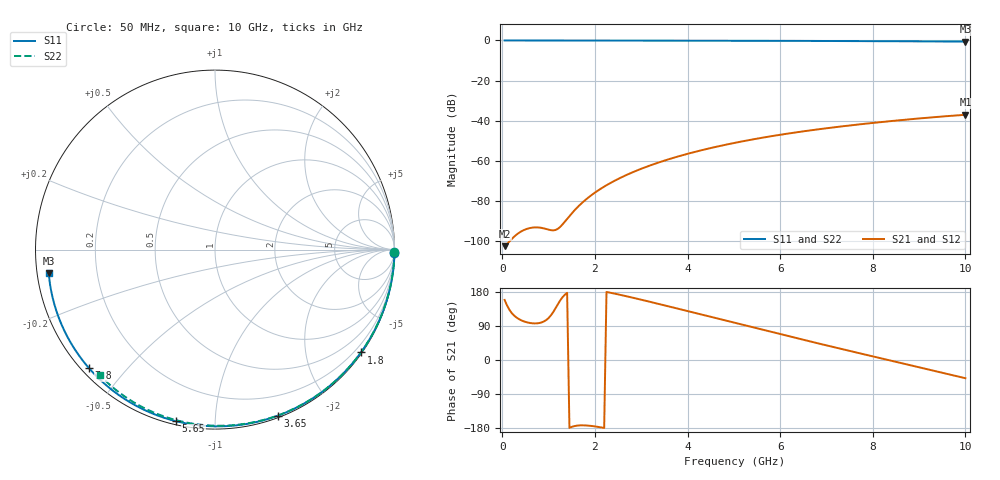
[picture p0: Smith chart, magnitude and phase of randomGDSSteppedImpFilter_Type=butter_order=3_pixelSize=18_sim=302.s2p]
! freq	dB(S11)	phase(S11)	dB(S12)	phase(S12)
!  dB(S21)	phase(S21)	dB(S22)	phase(S22)
!S-par simulation data
#  GHz  S  DB  R 50
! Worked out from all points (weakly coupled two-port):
!   200 points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, 50 MHz to 10 GHz, reference 50 ohm
!   highest |S21| = -37.06 dB at 10 GHz (marker M1); lowest = -102.6 dB at 50 MHz (marker M2)
!   lowest |S11| = -0.6 dB at 10 GHz (marker M3), VSWR 30.14, Z = 1.67 - j3.54 ohm
!   |S11| at or under -10 dB: nowhere
!   |S22| runs from -0.5 to 0.0 dB; largest |S21 - S12| = 0
!   S11 on the Smith chart (normalised r, x): 50 MHz: open; 1.8 GHz: 0.03, -3.16; 3.65 GHz: 0.02, -1.45; 5.65 GHz: 0.02, -0.80; 7.8 GHz: 0.02, -0.40; 10 GHz: 0.03, -0.07
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0.05  -0.00 -1.0  -102.61 158.5  -102.61 158.5  -0.00 -0.8
0.45  -0.01 -8.9  -94.75 102.6  -94.75 102.6  -0.01 -6.9
0.85  -0.02 -16.8  -93.49 99.2  -93.49 99.2  -0.02 -12.9
1.3  -0.03 -25.6  -91.76 165.6  -91.76 165.6  -0.02 -19.7
1.75  -0.04 -34.2  -80.43 -172.4  -80.43 -172.4  -0.03 -26.4
1.8  -0.04 -35.2  -79.44 -172.7  -79.44 -172.7  -0.03 -27.1
2.1  -0.05 -40.8  -74.34 -177.1  -74.34 -177.1  -0.04 -31.5
2.3  -0.06 -44.6  -71.55 178.3  -71.55 178.3  -0.04 -34.5
2.5  -0.06 -48.3  -69.09 173.2  -69.09 173.2  -0.05 -37.4
2.9  -0.07 -55.7  -64.92 162.0  -64.92 162.0  -0.06 -43.1
3.4  -0.09 -64.7  -60.68 147.3  -60.68 147.3  -0.07 -50.2
3.65  -0.09 -69.1  -58.86 139.8  -58.86 139.8  -0.07 -53.7
4.35  -0.12 -81.3  -54.48 118.5  -54.48 118.5  -0.09 -63.3
5.05  -0.14 -93.0  -50.93 97.1  -50.93 97.1  -0.11 -72.7
5.65  -0.17 -102.8  -48.37 78.9  -48.37 78.9  -0.13 -80.4
6.15  -0.20 -110.9  -46.51 63.8  -46.51 63.8  -0.15 -86.8
6.7  -0.23 -119.6  -44.69 47.4  -44.69 47.4  -0.18 -93.6
7.25  -0.27 -128.2  -43.08 31.3  -43.08 31.3  -0.21 -100.3
7.8  -0.32 -136.7  -41.63 15.3  -41.63 15.3  -0.25 -106.9
8.35  -0.37 -145.3  -40.31 -0.4  -40.31 -0.4  -0.29 -113.4
9.2  -0.47 -158.8  -38.50 -24.8  -38.50 -24.8  -0.36 -123.3
10  -0.58 -171.9  -37.06 -48.1  -37.06 -48.1  -0.45 -132.5
